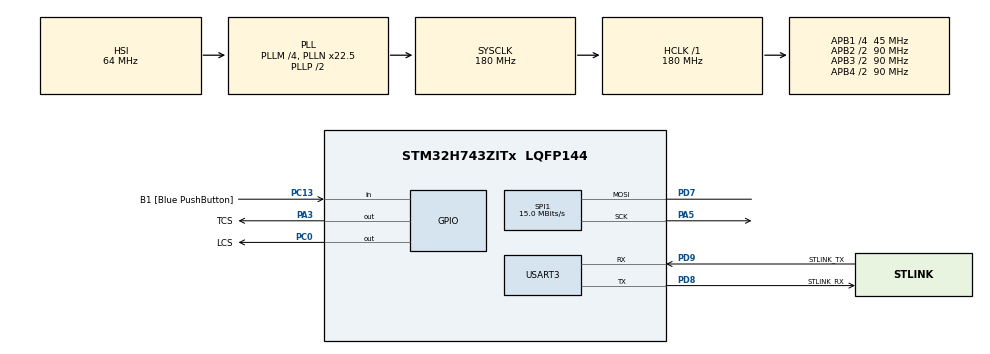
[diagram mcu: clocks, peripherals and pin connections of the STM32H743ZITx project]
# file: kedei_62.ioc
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Dma.Request0=SPI1_TX
Dma.SPI1_TX.0.Direction=DMA_MEMORY_TO_PERIPH
Dma.SPI1_TX.0.EventEnable=DISABLE
Dma.SPI1_TX.0.FIFOMode=DMA_FIFOMODE_DISABLE
Dma.SPI1_TX.0.Instance=DMA1_Stream0
Dma.SPI1_TX.0.MemDataAlignment=DMA_MDATAALIGN_BYTE
Dma.SPI1_TX.0.MemInc=DMA_MINC_ENABLE
Dma.SPI1_TX.0.Mode=DMA_NORMAL
Dma.SPI1_TX.0.PeriphDataAlignment=DMA_PDATAALIGN_BYTE
Dma.SPI1_TX.0.PeriphInc=DMA_PINC_DISABLE
Dma.SPI1_TX.0.Polarity=HAL_DMAMUX_REQ_GEN_RISING
Dma.SPI1_TX.0.Priority=DMA_PRIORITY_LOW
Dma.SPI1_TX.0.RequestNumber=1
Dma.SPI1_TX.0.SignalID=NONE
Dma.SPI1_TX.0.SyncEnable=DISABLE
Dma.SPI1_TX.0.SyncPolarity=HAL_DMAMUX_SYNC_NO_EVENT
Dma.SPI1_TX.0.SyncRequestNumber=1
Dma.SPI1_TX.0.SyncSignalID=NONE
Mcu.Family=STM32H7
Mcu.Name=STM32H743ZITx
Mcu.Package=LQFP144
NVIC.DMA1_Stream0_IRQn=true\:0\:0\:false\:false\:true\:false\:true\:true
NVIC.PriorityGroup=NVIC_PRIORITYGROUP_4
NVIC.SPI1_IRQn=true\:0\:0\:false\:false\:true\:false\:true\:true
PA3.GPIO_Label=TCS
PA3.Signal=GPIO_Output
PA5.Mode=Simplex_Bidirectional_Master
PA5.Signal=SPI1_SCK
PC0.GPIO_Label=LCS
PC0.Signal=GPIO_Output
PC13.GPIO_Label=B1 [Blue PushButton]
PC13.Signal=GPIO_Input
PC14-OSC32_IN\ (OSC32_IN).Mode=LSE-External-Oscillator
PC14-OSC32_IN\ (OSC32_IN).Signal=RCC_OSC32_IN
PC15-OSC32_OUT\ (OSC32_OUT).Mode=LSE-External-Oscillator
PC15-OSC32_OUT\ (OSC32_OUT).Signal=RCC_OSC32_OUT
PD7.Mode=Simplex_Bidirectional_Master
PD7.Signal=SPI1_MOSI
PD8.GPIO_Label=STLINK_RX
PD8.Mode=Asynchronous
PD8.Signal=USART3_TX
PD9.GPIO_Label=STLINK_TX
PD9.Mode=Asynchronous
PD9.Signal=USART3_RX
PH0-OSC_IN\ (PH0).Mode=HSE-External-Clock-Source
PH0-OSC_IN\ (PH0).Signal=RCC_OSC_IN
ProjectManager.HeapSize=0x200
ProjectManager.StackSize=0x400
ProjectManager.TargetToolchain=STM32CubeIDE
RCC.ADCFreq_Value=129000000
RCC.APB1Freq_Value=45000000
RCC.APB2Freq_Value=90000000
RCC.APB3Freq_Value=90000000
RCC.APB4Freq_Value=90000000
RCC.CortexFreq_Value=180000000
RCC.D1PPRE=RCC_APB3_DIV2
RCC.D2PPRE1=RCC_APB1_DIV4
RCC.D2PPRE2=RCC_APB2_DIV2
RCC.D3PPRE=RCC_APB4_DIV2
RCC.DIVM1=4
RCC.DIVN1=22
RCC.DIVQ1=3
RCC.HCLKFreq_Value=180000000
RCC.HSE_VALUE=50000000
RCC.PLL2FRACN=0
RCC.PLL3FRACN=0
RCC.PLLFRACN=4096
RCC.PWR_Regulator_Voltage_Scale=PWR_REGULATOR_VOLTAGE_SCALE2
RCC.SYSCLKFreq_VALUE=180000000
RCC.SYSCLKSource=RCC_SYSCLKSOURCE_PLLCLK
RCC.USBFreq_Value=120000000
SPI1.BaudRatePrescaler=SPI_BAUDRATEPRESCALER_8
SPI1.CalculateBaudRate=15.0 MBits/s
SPI1.DataSize=SPI_DATASIZE_8BIT
SPI1.Direction=SPI_DIRECTION_1LINE
SPI1.Mode=SPI_MODE_MASTER
SPI1.VirtualType=VM_MASTER
USART3.VirtualMode-Asynchronous=VM_ASYNC
board=NUCLEO-H743ZI2

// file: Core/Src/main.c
/* USER CODE BEGIN Header */
/**
 ******************************************************************************
 * @file           : main.c
 * @brief          : Main program body
 ******************************************************************************
 * @attention
 *
 * Copyright (c) 2024 STMicroelectronics.
 * All rights reserved.
 *
 * This software is licensed under terms that can be found in the LICENSE file
 * in the root directory of this software component.
 * If no LICENSE file comes with this software, it is provided AS-IS.
 *
 ******************************************************************************
 */
/* USER CODE END Header */
#include "main.h"

/* USER CODE BEGIN Includes */
#include "lvgl.h"
#include "LCDController.h"

//#include "kedei62.h"
/* USER CODE END Includes */

SPI_HandleTypeDef hspi1;
DMA_HandleTypeDef hdma_spi1_tx;

UART_HandleTypeDef huart3;

void SystemClock_Config(void);
static void MX_GPIO_Init(void);
static void MX_DMA_Init(void);
static void MX_USART3_UART_Init(void);
static void MX_SPI1_Init(void);

/* USER CODE BEGIN 0 */

static void event_handler(lv_event_t * e)
{
    lv_event_code_t code = lv_event_get_code(e);
    lv_obj_t * obj = lv_event_get_current_target(e);

    if(code == LV_EVENT_VALUE_CHANGED) {
        lv_calendar_date_t date;
        if(lv_calendar_get_pressed_date(obj, &date)) {
            LV_LOG_USER("Clicked date: %02d.%02d.%d", date.day, date.month, date.year);
        }
    }
}

/* USER CODE END 0 */

int main(void)
{

  /* MCU Configuration--------------------------------------------------------*/

  /* Reset of all peripherals, Initializes the Flash interface and the Systick. */
  HAL_Init();

  /* Configure the system clock */
  SystemClock_Config();

  /* Initialize all configured peripherals */
  MX_GPIO_Init();
  MX_DMA_Init();
  MX_USART3_UART_Init();
  MX_SPI1_Init();
  /* USER CODE BEGIN 2 */
//  lcd_init();
//  lcd_fillframe(0, 0, 480, 320, WHITE);
//  lcd_setwindow(0, 0, 10, 10);
//	for (int q = 0; q < 100; q++) {
//		lcd_color(RED);
//	}
//	lcd_fill(RED);

  lv_init();
  lv_port_disp_init();

//  lv_obj_set_style_bg_color(lv_screen_active(), lv_color_hex(0), LV_PART_MAIN);
//  /*Create a white label, set its text and align it to the center*/
//  lv_obj_t * spinner = lv_spinner_create(lv_screen_active());
//  lv_obj_set_size(spinner, 100, 100);
//  lv_obj_center(spinner);
//  lv_spinner_set_anim_params(spinner, 10000, 200);

  /*Change the active screen's background color*/
//  lv_obj_set_style_bg_color(lv_screen_active(), lv_color_hex(0x003a57), LV_PART_MAIN);
//  /*Create a white label, set its text and align it to the center*/
//  lv_obj_t * label = lv_label_create(lv_screen_active());
//  lv_label_set_text(label, "Hello world");
//  lv_obj_set_style_text_color(lv_screen_active(), lv_color_hex(0xffffff), LV_PART_MAIN);
//  LV_ALIGN_DEFAULT = 0,
//  LV_ALIGN_TOP_LEFT,
//  LV_ALIGN_TOP_MID,
//  LV_ALIGN_TOP_RIGHT,
//  LV_ALIGN_BOTTOM_LEFT,
//  LV_ALIGN_BOTTOM_MID,
//  LV_ALIGN_BOTTOM_RIGHT,
//  LV_ALIGN_LEFT_MID,
//  LV_ALIGN_RIGHT_MID,
//  LV_ALIGN_CENTER,
//  lv_obj_align(label, LV_ALIGN_CENTER, 0, 0);

  lv_obj_t  * calendar = lv_calendar_create(lv_screen_active());
  lv_obj_set_size(calendar, 250, 230);
  lv_obj_align(calendar, LV_ALIGN_CENTER, 0, 5);
  lv_obj_add_event_cb(calendar, event_handler, LV_EVENT_ALL, NULL);
  lv_calendar_set_today_date(calendar, 2024, 02, 12);
  lv_calendar_set_showed_date(calendar, 2024, 02);
  /*Highlight a few days*/
  static lv_calendar_date_t highlighted_days[3];  /*Only its pointer will be saved so should be static*/
  highlighted_days[0].year = 2024;
  highlighted_days[0].month = 02;
  highlighted_days[0].day = 14;
  lv_calendar_set_highlighted_dates(calendar, highlighted_days, 1);
  lv_calendar_header_arrow_create(calendar);

  /* USER CODE END 2 */

  /* Infinite loop */
  /* USER CODE BEGIN WHILE */
	while (1) {
		lv_timer_handler();
		HAL_Delay(5);
    /* USER CODE END WHILE */

	}
}

void SystemClock_Config(void)
{
  RCC_OscInitTypeDef RCC_OscInitStruct = {0};
  RCC_ClkInitTypeDef RCC_ClkInitStruct = {0};

  /** Supply configuration update enable
  */
  HAL_PWREx_ConfigSupply(PWR_LDO_SUPPLY);

  /** Configure the main internal regulator output voltage
  */
  __HAL_PWR_VOLTAGESCALING_CONFIG(PWR_REGULATOR_VOLTAGE_SCALE2);

  while(!__HAL_PWR_GET_FLAG(PWR_FLAG_VOSRDY)) {}

  /** Initializes the RCC Oscillators according to the specified parameters
  * in the RCC_OscInitTypeDef structure.
  */
  RCC_OscInitStruct.OscillatorType = RCC_OSCILLATORTYPE_HSI;
  RCC_OscInitStruct.HSIState = RCC_HSI_DIV1;
  RCC_OscInitStruct.HSICalibrationValue = RCC_HSICALIBRATION_DEFAULT;
  RCC_OscInitStruct.PLL.PLLState = RCC_PLL_ON;
  RCC_OscInitStruct.PLL.PLLSource = RCC_PLLSOURCE_HSI;
  RCC_OscInitStruct.PLL.PLLM = 4;
  RCC_OscInitStruct.PLL.PLLN = 22;
  RCC_OscInitStruct.PLL.PLLP = 2;
  RCC_OscInitStruct.PLL.PLLQ = 3;
  RCC_OscInitStruct.PLL.PLLR = 2;
  RCC_OscInitStruct.PLL.PLLRGE = RCC_PLL1VCIRANGE_3;
  RCC_OscInitStruct.PLL.PLLVCOSEL = RCC_PLL1VCOWIDE;
  RCC_OscInitStruct.PLL.PLLFRACN = 4096;
  if (HAL_RCC_OscConfig(&RCC_OscInitStruct) != HAL_OK)
  {
    Error_Handler();
  }

  /** Initializes the CPU, AHB and APB buses clocks
  */
  RCC_ClkInitStruct.ClockType = RCC_CLOCKTYPE_HCLK|RCC_CLOCKTYPE_SYSCLK
                              |RCC_CLOCKTYPE_PCLK1|RCC_CLOCKTYPE_PCLK2
                              |RCC_CLOCKTYPE_D3PCLK1|RCC_CLOCKTYPE_D1PCLK1;
  RCC_ClkInitStruct.SYSCLKSource = RCC_SYSCLKSOURCE_PLLCLK;
  RCC_ClkInitStruct.SYSCLKDivider = RCC_SYSCLK_DIV1;
  RCC_ClkInitStruct.AHBCLKDivider = RCC_HCLK_DIV1;
  RCC_ClkInitStruct.APB3CLKDivider = RCC_APB3_DIV2;
  RCC_ClkInitStruct.APB1CLKDivider = RCC_APB1_DIV4;
  RCC_ClkInitStruct.APB2CLKDivider = RCC_APB2_DIV2;
  RCC_ClkInitStruct.APB4CLKDivider = RCC_APB4_DIV2;

  if (HAL_RCC_ClockConfig(&RCC_ClkInitStruct, FLASH_LATENCY_3) != HAL_OK)
  {
    Error_Handler();
  }
}

static void MX_SPI1_Init(void)
{

  /* SPI1 parameter configuration*/
  hspi1.Instance = SPI1;
  hspi1.Init.Mode = SPI_MODE_MASTER;
  hspi1.Init.Direction = SPI_DIRECTION_1LINE;
  hspi1.Init.DataSize = SPI_DATASIZE_8BIT;
  hspi1.Init.CLKPolarity = SPI_POLARITY_LOW;
  hspi1.Init.CLKPhase = SPI_PHASE_1EDGE;
  hspi1.Init.NSS = SPI_NSS_SOFT;
  hspi1.Init.BaudRatePrescaler = SPI_BAUDRATEPRESCALER_8;
  hspi1.Init.FirstBit = SPI_FIRSTBIT_MSB;
  hspi1.Init.TIMode = SPI_TIMODE_DISABLE;
  hspi1.Init.CRCCalculation = SPI_CRCCALCULATION_DISABLE;
  hspi1.Init.CRCPolynomial = 0x0;
  hspi1.Init.NSSPMode = SPI_NSS_PULSE_ENABLE;
  hspi1.Init.NSSPolarity = SPI_NSS_POLARITY_LOW;
  hspi1.Init.FifoThreshold = SPI_FIFO_THRESHOLD_01DATA;
  hspi1.Init.TxCRCInitializationPattern = SPI_CRC_INITIALIZATION_ALL_ZERO_PATTERN;
  hspi1.Init.RxCRCInitializationPattern = SPI_CRC_INITIALIZATION_ALL_ZERO_PATTERN;
  hspi1.Init.MasterSSIdleness = SPI_MASTER_SS_IDLENESS_00CYCLE;
  hspi1.Init.MasterInterDataIdleness = SPI_MASTER_INTERDATA_IDLENESS_00CYCLE;
  hspi1.Init.MasterReceiverAutoSusp = SPI_MASTER_RX_AUTOSUSP_DISABLE;
  hspi1.Init.MasterKeepIOState = SPI_MASTER_KEEP_IO_STATE_DISABLE;
  hspi1.Init.IOSwap = SPI_IO_SWAP_DISABLE;
  if (HAL_SPI_Init(&hspi1) != HAL_OK)
  {
    Error_Handler();
  }

}

static void MX_USART3_UART_Init(void)
{

  huart3.Instance = USART3;
  huart3.Init.BaudRate = 115200;
  huart3.Init.WordLength = UART_WORDLENGTH_8B;
  huart3.Init.StopBits = UART_STOPBITS_1;
  huart3.Init.Parity = UART_PARITY_NONE;
  huart3.Init.Mode = UART_MODE_TX_RX;
  huart3.Init.HwFlowCtl = UART_HWCONTROL_NONE;
  huart3.Init.OverSampling = UART_OVERSAMPLING_16;
  huart3.Init.OneBitSampling = UART_ONE_BIT_SAMPLE_DISABLE;
  huart3.Init.ClockPrescaler = UART_PRESCALER_DIV1;
  huart3.AdvancedInit.AdvFeatureInit = UART_ADVFEATURE_NO_INIT;
  if (HAL_UART_Init(&huart3) != HAL_OK)
  {
    Error_Handler();
  }
  if (HAL_UARTEx_SetTxFifoThreshold(&huart3, UART_TXFIFO_THRESHOLD_1_8) != HAL_OK)
  {
    Error_Handler();
  }
  if (HAL_UARTEx_SetRxFifoThreshold(&huart3, UART_RXFIFO_THRESHOLD_1_8) != HAL_OK)
  {
    Error_Handler();
  }
  if (HAL_UARTEx_DisableFifoMode(&huart3) != HAL_OK)
  {
    Error_Handler();
  }

}

static void MX_DMA_Init(void)
{

  /* DMA controller clock enable */
  __HAL_RCC_DMA1_CLK_ENABLE();

  /* DMA interrupt init */
  /* DMA1_Stream0_IRQn interrupt configuration */
  HAL_NVIC_SetPriority(DMA1_Stream0_IRQn, 0, 0);
  HAL_NVIC_EnableIRQ(DMA1_Stream0_IRQn);

}

static void MX_GPIO_Init(void)
{
  GPIO_InitTypeDef GPIO_InitStruct = {0};

  /* GPIO Ports Clock Enable */
  __HAL_RCC_GPIOC_CLK_ENABLE();
  __HAL_RCC_GPIOH_CLK_ENABLE();
  __HAL_RCC_GPIOA_CLK_ENABLE();
  __HAL_RCC_GPIOD_CLK_ENABLE();

  /*Configure GPIO pin Output Level */
  HAL_GPIO_WritePin(LCS_GPIO_Port, LCS_Pin, GPIO_PIN_RESET);

  /*Configure GPIO pin Output Level */
  HAL_GPIO_WritePin(TCS_GPIO_Port, TCS_Pin, GPIO_PIN_RESET);

  /*Configure GPIO pin : B1_Pin */
  GPIO_InitStruct.Pin = B1_Pin;
  GPIO_InitStruct.Mode = GPIO_MODE_INPUT;
  GPIO_InitStruct.Pull = GPIO_NOPULL;
  HAL_GPIO_Init(B1_GPIO_Port, &GPIO_InitStruct);

  /*Configure GPIO pin : LCS_Pin */
  GPIO_InitStruct.Pin = LCS_Pin;
  GPIO_InitStruct.Mode = GPIO_MODE_OUTPUT_PP;
  GPIO_InitStruct.Pull = GPIO_NOPULL;
  GPIO_InitStruct.Speed = GPIO_SPEED_FREQ_LOW;
  HAL_GPIO_Init(LCS_GPIO_Port, &GPIO_InitStruct);

  /*Configure GPIO pin : TCS_Pin */
  GPIO_InitStruct.Pin = TCS_Pin;
  GPIO_InitStruct.Mode = GPIO_MODE_OUTPUT_PP;
  GPIO_InitStruct.Pull = GPIO_NOPULL;
  GPIO_InitStruct.Speed = GPIO_SPEED_FREQ_LOW;
  HAL_GPIO_Init(TCS_GPIO_Port, &GPIO_InitStruct);

}

void Error_Handler(void)
{
	__disable_irq();
	while (1) {
	}
}
